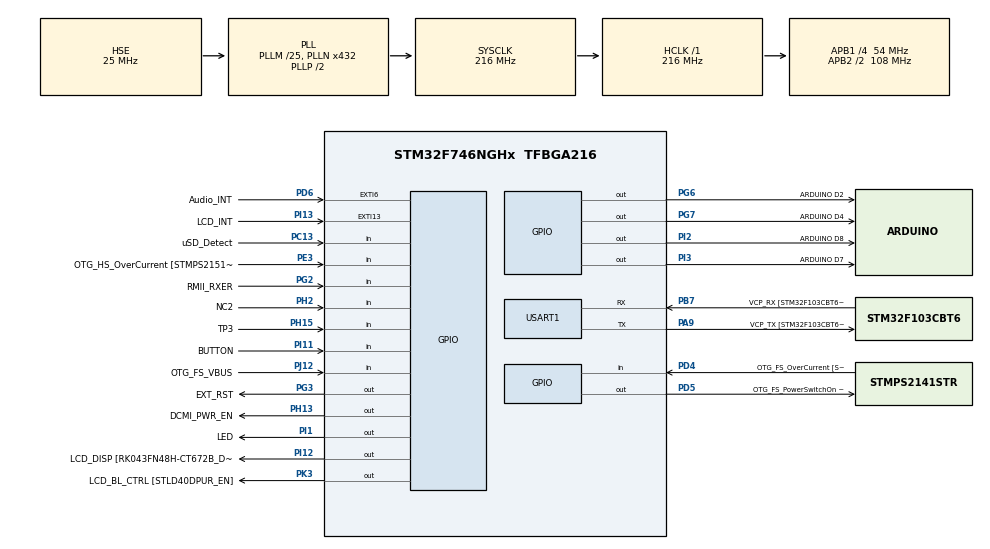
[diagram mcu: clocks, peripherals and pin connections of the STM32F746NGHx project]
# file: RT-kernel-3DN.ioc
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FREERTOS.Tasks01=defaultTask,0,128,StartDefaultTask,Default,NULL,Dynamic,NULL,NULL
FREERTOS.configCHECK_FOR_STACK_OVERFLOW=1
FREERTOS.configGENERATE_RUN_TIME_STATS=1
FREERTOS.configRECORD_STACK_HIGH_ADDRESS=1
FREERTOS.configUSE_NEWLIB_REENTRANT=1
FREERTOS.configUSE_STATS_FORMATTING_FUNCTIONS=1
FREERTOS.configUSE_TRACE_FACILITY=1
Mcu.Family=STM32F7
Mcu.Name=STM32F746NGHx
Mcu.Package=TFBGA216
NVIC.PriorityGroup=NVIC_PRIORITYGROUP_4
NVIC.TIM1_UP_TIM10_IRQn=true\:15\:0\:false\:false\:true\:false\:false\:true\:true
NVIC.TimeBase=TIM1_UP_TIM10_IRQn
NVIC.TimeBaseIP=TIM1
NVIC.USART1_IRQn=true\:5\:0\:false\:false\:true\:true\:true\:true\:true
PA0/WKUP.GPIO_Label=ARDUINO A0
PA0/WKUP.GPIO_Mode=GPIO_MODE_ANALOG
PA0/WKUP.GPIO_PuPd=GPIO_NOPULL
PA0/WKUP.Signal=ADCx_IN0
PA1.GPIO_Label=RMII_REF_CLK [LAN8742A-CZ-TR_REFCLK0]
PA1.Signal=ETH_REF_CLK
PA10.GPIO_Label=OTG_FS_ID
PA10.Signal=USB_OTG_FS_ID
PA11.GPIO_Label=OTG_FS_N
PA11.Signal=USB_OTG_FS_DM
PA12.GPIO_Label=OTG_FS_P
PA12.Signal=USB_OTG_FS_DP
PA13.GPIO_Label=SWDIO
PA13.Mode=Trace_Asynchronous_SW
PA13.Signal=SYS_JTMS-SWDIO
PA14.GPIO_Label=SWCLK
PA14.Mode=Trace_Asynchronous_SW
PA14.Signal=SYS_JTCK-SWCLK
PA15.GPIO_Label=ARDUINO PWM/D9
PA15.GPIO_ModeDefaultPP=GPIO_MODE_AF_PP
PA15.GPIO_PuPd=GPIO_NOPULL
PA15.GPIO_Speed=GPIO_SPEED_FREQ_LOW
PA15.Signal=S_TIM2_CH1_ETR
PA2.GPIO_Label=RMII_MDIO [LAN8742A-CZ-TR_MDIO]
PA2.Signal=ETH_MDIO
PA3.GPIO_Label=ULPI_D0 [USB3320C-EZK_D0]
PA3.Signal=USB_OTG_HS_ULPI_D0
PA4.GPIO_Label=DCMI_HSYNC
PA4.Signal=DCMI_HSYNC
PA5.GPIO_Label=ULPI_CLK [USB3320C-EZK_CLKOUT]
PA5.Signal=USB_OTG_HS_ULPI_CK
PA6.Signal=DCMI_PIXCLK
PA7.GPIO_Label=RMII_CRS_DV [LAN8742A-CZ-TR_CRS_DV]
PA7.Signal=ETH_CRS_DV
PA8.GPIO_Label=ARDUINO PWM/D10
PA8.GPIO_ModeDefaultPP=GPIO_MODE_AF_PP
PA8.GPIO_PuPd=GPIO_NOPULL
PA8.GPIO_Speed=GPIO_SPEED_FREQ_LOW
PA8.Signal=S_TIM1_CH1
PA9.GPIO_Label=VCP_TX [STM32F103CBT6_PA3]
PA9.GPIO_Mode=GPIO_MODE_AF_PP
PA9.GPIO_PuPd=GPIO_NOPULL
PA9.GPIO_Speed=GPIO_SPEED_FREQ_LOW
PA9.Mode=Asynchronous
PA9.Signal=USART1_TX
PB0.GPIO_Label=ULPI_D1 [USB3320C-EZK_D1]
PB0.Signal=USB_OTG_HS_ULPI_D1
PB1.GPIO_Label=ULPI_D2 [USB3320C-EZK_D2]
PB1.Signal=USB_OTG_HS_ULPI_D2
PB10.GPIO_Label=ULPI_D3 [USB3320C-EZK_D3]
PB10.Signal=USB_OTG_HS_ULPI_D3
PB11.GPIO_Label=ULPI_D4 [USB3320C-EZK_D4]
PB11.Signal=USB_OTG_HS_ULPI_D4
PB12.GPIO_Label=ULPI_D5 [USB3320C-EZK_D5]
PB12.Signal=USB_OTG_HS_ULPI_D5
PB13.GPIO_Label=ULPI_D6 [USB3320C-EZK_D6]
PB13.Signal=USB_OTG_HS_ULPI_D6
PB14.GPIO_Label=ARDUINO MISO/D12
PB14.GPIO_Mode=GPIO_MODE_AF_PP
PB14.GPIO_PuPd=GPIO_NOPULL
PB14.GPIO_Speed=GPIO_SPEED_FREQ_LOW
PB14.Signal=SPI2_MISO
PB15.GPIO_Label=ARDUINO MOSI/PWM/D11
PB15.GPIO_Mode=GPIO_MODE_AF_PP
PB15.GPIO_PuPd=GPIO_NOPULL
PB15.GPIO_Speed=GPIO_SPEED_FREQ_LOW
PB15.Signal=SPI2_MOSI
PB2.Signal=QUADSPI_CLK
PB3.GPIO_Label=SWO
PB3.Mode=Trace_Asynchronous_SW
PB3.Signal=SYS_JTDO-SWO
PB4.GPIO_Label=ARDUINO PWM/D3
PB4.GPIO_ModeDefaultPP=GPIO_MODE_AF_PP
PB4.GPIO_PuPd=GPIO_NOPULL
PB4.GPIO_Speed=GPIO_SPEED_FREQ_LOW
PB4.Signal=S_TIM3_CH1
PB5.GPIO_Label=ULPI_D7 [USB3320C-EZK_D7]
PB5.Signal=USB_OTG_HS_ULPI_D7
PB6.GPIO_Label=QSPI_NCS [N25Q128A13EF840E_S]
PB6.Signal=QUADSPI_BK1_NCS
PB7.GPIO_Label=VCP_RX [STM32F103CBT6_PA2]
PB7.GPIO_Mode=GPIO_MODE_AF_PP
PB7.GPIO_PuPd=GPIO_NOPULL
PB7.GPIO_Speed=GPIO_SPEED_FREQ_LOW
PB7.Mode=Asynchronous
PB7.Signal=USART1_RX
PB8.GPIO_Label=ARDUINO SCL/D15
PB8.GPIO_Mode=GPIO_MODE_AF_OD
PB8.GPIO_PuPd=GPIO_NOPULL
PB8.GPIO_Speed=GPIO_SPEED_FREQ_LOW
PB8.Signal=I2C1_SCL
PB9.GPIO_Label=ARDUINO SDA/D14
PB9.GPIO_Mode=GPIO_MODE_AF_OD
PB9.GPIO_PuPd=GPIO_NOPULL
PB9.GPIO_Speed=GPIO_SPEED_FREQ_LOW
PB9.Signal=I2C1_SDA
PC0.GPIO_Label=ULPI_STP [USB3320C-EZK_STP]
PC0.Signal=USB_OTG_HS_ULPI_STP
PC1.GPIO_Label=RMII_MDC [LAN8742A-CZ-TR_MDC]
PC1.Signal=ETH_MDC
PC10.GPIO_Label=SDMMC_D2
PC10.Signal=SDMMC1_D2
PC11.GPIO_Label=SDMMC_D3
PC11.Signal=SDMMC1_D3
PC12.GPIO_Label=SDMMC_CK
PC12.Signal=SDMMC1_CK
PC13.GPIO_Label=uSD_Detect
PC13.Signal=GPIO_Input
PC14/OSC32_IN.GPIO_Label=RCC_OSC32_IN
PC14/OSC32_IN.Signal=RCC_OSC32_IN
PC15/OSC32_OUT.GPIO_Label=RCC_OSC32_OUT
PC15/OSC32_OUT.Signal=RCC_OSC32_OUT
PC2.GPIO_Label=ULPI_DIR [USB3320C-EZK_DIR]
PC2.Signal=USB_OTG_HS_ULPI_DIR
PC3.GPIO_Label=FMC_SDCKE0 [MT48LC4M32B2B5-6A_CKE]
PC3.Signal=FMC_SDCKE0
PC4.GPIO_Label=RMII_RXD0 [LAN8742A-CZ-TR_RXD0]
PC4.Signal=ETH_RXD0
PC5.GPIO_Label=RMII_RXD1 [LAN8742A-CZ-TR_RXD1]
PC5.Signal=ETH_RXD1
PC6.GPIO_Label=ARDUINO TX/D1
PC6.Signal=USART6_TX
PC7.GPIO_Label=ARDUINO RX/D0
PC7.Signal=USART6_RX
PC8.Signal=SDMMC1_D0
PC9.Signal=SDMMC1_D1
PD0.GPIO_Label=FMC_D2 [MT48LC4M32B2B5-6A_DQ2]
PD0.Signal=FMC_D2_DA2
PD1.GPIO_Label=FMC_D3 [MT48LC4M32B2B5-6A_DQ3]
PD1.Signal=FMC_D3_DA3
PD10.GPIO_Label=FMC_D15 [MT48LC4M32B2B5-6A_DQ15]
PD10.Signal=FMC_D15_DA15
PD11.GPIO_Label=QSPI_D0 [N25Q128A13EF840E_DQ0]
PD11.Signal=QUADSPI_BK1_IO0
PD12.GPIO_Label=QSPI_D1 [N25Q128A13EF840E_DQ1]
PD12.Signal=QUADSPI_BK1_IO1
PD13.GPIO_Label=QSPI_D3 [N25Q128A13EF840E_DQ3]
PD13.Signal=QUADSPI_BK1_IO3
PD14.GPIO_Label=FMC_D0 [MT48LC4M32B2B5-6A_DQ0]
PD14.Signal=FMC_D0_DA0
PD15.GPIO_Label=FMC_D1 [MT48LC4M32B2B5-6A_DQ1]
PD15.Signal=FMC_D1_DA1
PD2.GPIO_Label=SDMMC_D0
PD2.Signal=SDMMC1_CMD
PD3.GPIO_Label=DCMI_D5
PD3.Signal=DCMI_D5
PD4.GPIO_Label=OTG_FS_OverCurrent [STMPS2141STR_Fault]
PD4.Signal=GPIO_Input
PD5.GPIO_Label=OTG_FS_PowerSwitchOn [STMPS2141STR_EN]
PD5.PinState=GPIO_PIN_SET
PD5.Signal=GPIO_Output
PD6.GPIO_Label=Audio_INT
PD6.GPIO_ModeDefaultEXTI=GPIO_MODE_EVT_RISING
PD6.Signal=GPXTI6
PD7.GPIO_Label=SPDIF_RX0 [74LVC1G04SE_4]
PD7.Signal=SPDIFRX_IN0
PD8.GPIO_Label=FMC_D13 [MT48LC4M32B2B5-6A_DQ13]
PD8.Signal=FMC_D13_DA13
PD9.GPIO_Label=FMC_D14 [MT48LC4M32B2B5-6A_DQ14]
PD9.Signal=FMC_D14_DA14
PE0.GPIO_Label=FMC_NBL0 [MT48LC4M32B2B5-6A_DQM0]
PE0.Signal=FMC_NBL0
PE1.GPIO_Label=FMC_NBL1 [MT48LC4M32B2B5-6A_DQM1]
PE1.Signal=FMC_NBL1
PE10.GPIO_Label=FMC_D7 [MT48LC4M32B2B5-6A_DQ7]
PE10.Signal=FMC_D7_DA7
PE11.GPIO_Label=FMC_D8 [MT48LC4M32B2B5-6A_DQ8]
PE11.Signal=FMC_D8_DA8
PE12.GPIO_Label=FMC_D9 [MT48LC4M32B2B5-6A_DQ9]
PE12.Signal=FMC_D9_DA9
PE13.GPIO_Label=FMC_D10 [MT48LC4M32B2B5-6A_DQ10]
PE13.Signal=FMC_D10_DA10
PE14.GPIO_Label=FMC_D11 [MT48LC4M32B2B5-6A_DQ11]
PE14.Signal=FMC_D11_DA11
PE15.GPIO_Label=FMC_D12 [MT48LC4M32B2B5-6A_DQ12]
PE15.Signal=FMC_D12_DA12
PE2.GPIO_Label=QSPI_D2 [N25Q128A13EF840E_DQ2]
PE2.Signal=QUADSPI_BK1_IO2
PE3.GPIO_Label=OTG_HS_OverCurrent [STMPS2151STR_FAULT]
PE3.Signal=GPIO_Input
PE4.GPIO_Label=LCD_B0 [RK043FN48H-CT672B_B0]
PE4.Signal=LTDC_B0
PE5.GPIO_Label=DCMI_D6
PE5.Signal=DCMI_D6
PE6.GPIO_Label=DCMI_D7
PE6.Signal=DCMI_D7
PE7.GPIO_Label=FMC_D4 [MT48LC4M32B2B5-6A_DQ4]
PE7.Signal=FMC_D4_DA4
PE8.GPIO_Label=FMC_D5 [MT48LC4M32B2B5-6A_DQ5]
PE8.Signal=FMC_D5_DA5
PE9.GPIO_Label=FMC_D6 [MT48LC4M32B2B5-6A_DQ6]
PE9.Signal=FMC_D6_DA6
PF0.GPIO_Label=FMC_A0 [MT48LC4M32B2B5-6A_A0]
PF0.Signal=FMC_A0
PF1.GPIO_Label=FMC_A1 [MT48LC4M32B2B5-6A_A1]
PF1.Signal=FMC_A1
PF10.GPIO_Label=ARDUINO A1
PF10.GPIO_Mode=GPIO_MODE_ANALOG
PF10.GPIO_PuPd=GPIO_NOPULL
PF10.Signal=ADC3_IN8
PF11.GPIO_Label=FMC_SDNRAS [MT48LC4M32B2B5-6A_RAS]
PF11.Signal=FMC_SDNRAS
PF12.GPIO_Label=FMC_A6 [MT48LC4M32B2B5-6A_A6]
PF12.Signal=FMC_A6
PF13.GPIO_Label=FMC_A7 [MT48LC4M32B2B5-6A_A7]
PF13.Signal=FMC_A7
PF14.GPIO_Label=FMC_A8 [MT48LC4M32B2B5-6A_A8]
PF14.Signal=FMC_A8
PF15.GPIO_Label=FMC_A9 [MT48LC4M32B2B5-6A_A9]
PF15.Signal=FMC_A9
PF2.GPIO_Label=FMC_A2 [MT48LC4M32B2B5-6A_A2]
PF2.Signal=FMC_A2
PF3.GPIO_Label=FMC_A3 [MT48LC4M32B2B5-6A_A3]
PF3.Signal=FMC_A3
PF4.GPIO_Label=FMC_A4 [MT48LC4M32B2B5-6A_A4]
PF4.Signal=FMC_A4
PF5.GPIO_Label=FMC_A5 [MT48LC4M32B2B5-6A_A5]
PF5.Signal=FMC_A5
PF6.GPIO_Label=ARDUINO A5
PF6.GPIO_Mode=GPIO_MODE_ANALOG
PF6.GPIO_PuPd=GPIO_NOPULL
PF6.Signal=ADC3_IN4
PF7.GPIO_Label=ARDUINO A4
PF7.GPIO_Mode=GPIO_MODE_ANALOG
PF7.GPIO_PuPd=GPIO_NOPULL
PF7.Signal=ADC3_IN5
PF8.GPIO_Label=ARDUINO A3
PF8.GPIO_Mode=GPIO_MODE_ANALOG
PF8.GPIO_PuPd=GPIO_NOPULL
PF8.Signal=ADC3_IN6
PF9.GPIO_Label=ARDUINO A2
PF9.GPIO_Mode=GPIO_MODE_ANALOG
PF9.GPIO_PuPd=GPIO_NOPULL
PF9.Signal=ADC3_IN7
PG0.GPIO_Label=FMC_A10 [MT48LC4M32B2B5-6A_A10]
PG0.Signal=FMC_A10
PG1.GPIO_Label=FMC_A11 [MT48LC4M32B2B5-6A_A11]
PG1.Signal=FMC_A11
PG10.GPIO_Label=SAI2_SDB [WM8994ECS/R_ADCDAT1]
PG10.Signal=SAI2_SD_B
PG11.GPIO_Label=RMII_TX_EN [LAN8742A-CZ-TR_TXEN]
PG11.Signal=ETH_TX_EN
PG12.GPIO_Label=LCD_B4 [RK043FN48H-CT672B_B4]
PG12.Signal=LTDC_B4
PG13.GPIO_Label=RMII_TXD0 [LAN8742A-CZ-TR_TXD0]
PG13.Signal=ETH_TXD0
PG14.GPIO_Label=RMII_TXD1 [LAN8742A-CZ-TR_TXD1]
PG14.Signal=ETH_TXD1
PG15.GPIO_Label=FMC_SDNCAS [MT48LC4M32B2B5-6A_CAS]
PG15.Signal=FMC_SDNCAS
PG2.GPIO_Label=RMII_RXER
PG2.Signal=GPIO_Input
PG3.GPIO_Label=EXT_RST
PG3.Signal=GPIO_Output
PG4.GPIO_Label=FMC_BA0 [MT48LC4M32B2B5-6A_BA0]
PG4.Signal=FMC_A14_BA0
PG5.GPIO_Label=FMC_BA1 [MT48LC4M32B2B5-6A_BA1]
PG5.Signal=FMC_A15_BA1
PG6.GPIO_Label=ARDUINO D2
PG6.Signal=GPIO_Output
PG7.GPIO_Label=ARDUINO D4
PG7.Signal=GPIO_Output
PG8.GPIO_Label=FMC_SDCLK [MT48LC4M32B2B5-6A_CLK]
PG8.Signal=FMC_SDCLK
PG9.GPIO_Label=DCMI_VSYNC
PG9.Signal=DCMI_VSYNC
PH0/OSC_IN.GPIO_Label=OSC_25M [NZ2520SB-25.00M_OUT]
PH0/OSC_IN.Mode=HSE-External-Oscillator
PH0/OSC_IN.Signal=RCC_OSC_IN
PH1/OSC_OUT.Mode=HSE-External-Oscillator
PH1/OSC_OUT.Signal=RCC_OSC_OUT
PH10.GPIO_Label=DCMI_D1
PH10.Signal=DCMI_D1
PH11.GPIO_Label=DCMI_D2
PH11.Signal=DCMI_D2
PH12.GPIO_Label=DCMI_D3
PH12.Signal=DCMI_D3
PH13.GPIO_Label=DCMI_PWR_EN
PH13.Signal=GPIO_Output
PH14.GPIO_Label=DCMI_D4
PH14.Signal=DCMI_D4
PH15.GPIO_Label=TP3
PH15.Signal=GPIO_Input
PH2.GPIO_Label=NC2
PH2.Signal=GPIO_Input
PH3.GPIO_Label=FMC_SDNE0 [MT48LC4M32B2B5-6A_CS]
PH3.Signal=FMC_SDNE0
PH4.GPIO_Label=ULPI_NXT [USB3320C-EZK_NXT]
PH4.Signal=USB_OTG_HS_ULPI_NXT
PH5.GPIO_Label=FMC_SDNME [MT48LC4M32B2B5-6A_WE]
PH5.Signal=FMC_SDNWE
PH6.GPIO_Label=ARDUINO PWM/D6
PH6.Signal=S_TIM12_CH1
PH7.GPIO_Label=LCD_SCL [RK043FN48H-CT672B_SCL]
PH7.Signal=I2C3_SCL
PH8.GPIO_Label=LCD_SDA [RK043FN48H-CT672B_SDA]
PH8.Signal=I2C3_SDA
PH9.GPIO_Label=DCMI_D0
PH9.Signal=DCMI_D0
PI0.GPIO_Label=ARDUINO PWM/CS/D5
PI0.GPIO_ModeDefaultPP=GPIO_MODE_AF_PP
PI0.GPIO_PuPd=GPIO_NOPULL
PI0.GPIO_Speed=GPIO_SPEED_FREQ_LOW
PI0.Signal=S_TIM5_CH4
PI1.GPIO_Label=LED
PI1.Signal=GPIO_Output
PI10.GPIO_Label=LCD_HSYNC [RK043FN48H-CT672B_HSYNC]
PI10.Signal=LTDC_HSYNC
PI11.GPIO_Label=BUTTON
PI11.Signal=GPIO_Input
PI12.GPIO_Label=LCD_DISP [RK043FN48H-CT672B_DISP] 
PI12.Signal=GPIO_Output
PI13.GPIO_Label=LCD_INT
PI13.GPIO_ModeDefaultEXTI=GPIO_MODE_EVT_RISING
PI13.Signal=GPXTI13
PI14.GPIO_Label=LCD_CLK [RK043FN48H-CT672B_CLK]
PI14.Signal=LTDC_CLK
PI15.GPIO_Label=LCD_R0 [RK043FN48H-CT672B_R0]
PI15.Signal=LTDC_R0
PI2.GPIO_Label=ARDUINO D8
PI2.Signal=GPIO_Output
PI3.GPIO_Label=ARDUINO D7
PI3.Signal=GPIO_Output
PI4.GPIO_Label=SAI2_MCLKA [WM8994ECS/R_MCLK1]
PI4.Signal=SAI2_MCLK_A
PI5.GPIO_Label=SAI2_SCKA [WM8994ECS/R_BCLK1]
PI5.Signal=SAI2_SCK_A
PI6.GPIO_Label=SAI2_SDA [WM8994ECS/R_DACDAT1]
PI6.Signal=SAI2_SD_A
PI7.GPIO_Label=SAI2_FSA [WM8994ECS/R_LRCLK1]
PI7.Signal=SAI2_FS_A
PI8.GPIO_Label=NC1 [TP2]
PI8.Signal=RTC_TS
PI9.GPIO_Label=LCD_VSYNC [RK043FN48H-CT672B_VSYNC]
PI9.Signal=LTDC_VSYNC
PJ0.GPIO_Label=LCD_R1 [RK043FN48H-CT672B_R1]
PJ0.Signal=LTDC_R1
PJ1.GPIO_Label=LCD_R2 [RK043FN48H-CT672B_R2]
PJ1.Signal=LTDC_R2
PJ10.GPIO_Label=LCD_G3 [RK043FN48H-CT672B_G3]
PJ10.Signal=LTDC_G3
PJ11.GPIO_Label=LCD_G4 [RK043FN48H-CT672B_G4]
PJ11.Signal=LTDC_G4
PJ12.GPIO_Label=OTG_FS_VBUS
PJ12.Signal=GPIO_Input
PJ13.GPIO_Label=LCD_B1 [RK043FN48H-CT672B_B1]
PJ13.Signal=LTDC_B1
PJ14.GPIO_Label=LCD_B2 [RK043FN48H-CT672B_B2]
PJ14.Signal=LTDC_B2
PJ15.GPIO_Label=LCD_B3 [RK043FN48H-CT672B_B3]
PJ15.Signal=LTDC_B3
PJ2.GPIO_Label=LCD_R3 [RK043FN48H-CT672B_R3]
PJ2.Signal=LTDC_R3
PJ3.GPIO_Label=LCD_R4 [RK043FN48H-CT672B_R4]
PJ3.Signal=LTDC_R4
PJ4.GPIO_Label=LCD_R5 [RK043FN48H-CT672B_R5]
PJ4.Signal=LTDC_R5
PJ5.GPIO_Label=LCD_R6 [RK043FN48H-CT672B_R6]
PJ5.Signal=LTDC_R6
PJ6.GPIO_Label=LCD_R7 [RK043FN48H-CT672B_R7]
PJ6.Signal=LTDC_R7
PJ7.GPIO_Label=LCD_G0 [RK043FN48H-CT672B_G0]
PJ7.Signal=LTDC_G0
PJ8.GPIO_Label=LCD_G1 [RK043FN48H-CT672B_G1]
PJ8.Signal=LTDC_G1
PJ9.GPIO_Label=LCD_G2 [RK043FN48H-CT672B_G2]
PJ9.Signal=LTDC_G2
PK0.GPIO_Label=LCD_G5 [RK043FN48H-CT672B_G5]
PK0.Signal=LTDC_G5
PK1.GPIO_Label=LCD_G6 [RK043FN48H-CT672B_G6]
PK1.Signal=LTDC_G6
PK2.GPIO_Label=LCD_G7 [RK043FN48H-CT672B_G7]
PK2.Signal=LTDC_G7
PK3.GPIO_Label=LCD_BL_CTRL [STLD40DPUR_EN]
PK3.Signal=GPIO_Output
PK4.GPIO_Label=LCD_B5 [RK043FN48H-CT672B_B5]
PK4.Signal=LTDC_B5
PK5.GPIO_Label=LCD_B6 [RK043FN48H-CT672B_B6]
PK5.Signal=LTDC_B6
PK6.GPIO_Label=LCD_B7 [RK043FN48H-CT672B_B7]
PK6.Signal=LTDC_B7
PK7.GPIO_Label=LCD_DE [RK043FN48H-CT672B_DE]
PK7.Signal=LTDC_DE
ProjectManager.HeapSize=0x200
ProjectManager.StackSize=0x400
ProjectManager.TargetToolchain=STM32CubeIDE
RCC.AHBFreq_Value=216000000
RCC.APB1CLKDivider=RCC_HCLK_DIV4
RCC.APB1Freq_Value=54000000
RCC.APB1TimFreq_Value=108000000
RCC.APB2CLKDivider=RCC_HCLK_DIV2
RCC.APB2Freq_Value=108000000
RCC.APB2TimFreq_Value=216000000
RCC.CortexFreq_Value=216000000
RCC.HCLKFreq_Value=216000000
RCC.HSE_VALUE=25000000
RCC.HSI_VALUE=16000000
RCC.LSE_VALUE=32768
RCC.PLLM=25
RCC.PLLN=432
RCC.PLLSourceVirtual=RCC_PLLSOURCE_HSE
RCC.SYSCLKFreq_VALUE=216000000
RCC.SYSCLKSource=RCC_SYSCLKSOURCE_PLLCLK
RCC.USBFreq_Value=216000000
RCC.VCOOutputFreq_Value=432000000
SH.ADCx_IN0.0=ADC3_IN0
SH.FMC_A0.0=FMC_A0
SH.FMC_A1.0=FMC_A1
SH.FMC_A10.0=FMC_A10
SH.FMC_A11.0=FMC_A11
SH.FMC_A14_BA0.0=FMC_BA0
SH.FMC_A15_BA1.0=FMC_BA1
SH.FMC_A2.0=FMC_A2
SH.FMC_A3.0=FMC_A3
SH.FMC_A4.0=FMC_A4
SH.FMC_A5.0=FMC_A5
SH.FMC_A6.0=FMC_A6
SH.FMC_A7.0=FMC_A7
SH.FMC_A8.0=FMC_A8
SH.FMC_A9.0=FMC_A9
SH.FMC_D0_DA0.0=FMC_D0
SH.FMC_D10_DA10.0=FMC_D10
SH.FMC_D11_DA11.0=FMC_D11
SH.FMC_D12_DA12.0=FMC_D12
SH.FMC_D13_DA13.0=FMC_D13
SH.FMC_D14_DA14.0=FMC_D14
SH.FMC_D15_DA15.0=FMC_D15
SH.FMC_D1_DA1.0=FMC_D1
SH.FMC_D2_DA2.0=FMC_D2
SH.FMC_D3_DA3.0=FMC_D3
SH.FMC_D4_DA4.0=FMC_D4
SH.FMC_D5_DA5.0=FMC_D5
SH.FMC_D6_DA6.0=FMC_D6
SH.FMC_D7_DA7.0=FMC_D7
SH.FMC_D8_DA8.0=FMC_D8
SH.FMC_D9_DA9.0=FMC_D9
SH.FMC_NBL0.0=FMC_NBL0
SH.FMC_NBL1.0=FMC_NBL1
SH.FMC_SDCLK.0=FMC_SDCLK
SH.FMC_SDNCAS.0=FMC_SDNCAS
SH.FMC_SDNRAS.0=FMC_SDNRAS
SH.FMC_SDNWE.0=FMC_SDNWE
SH.S_TIM12_CH1.0=TIM12_CH1
SH.S_TIM1_CH1.0=TIM1_CH1
SH.S_TIM2_CH1_ETR.0=TIM2_CH1
SH.S_TIM3_CH1.0=TIM3_CH1
SH.S_TIM5_CH4.0=TIM5_CH4
TIM2.Period=0xffffffff
TIM2.Prescaler=107
USART1.VirtualMode-Asynchronous=VM_ASYNC
VP_FREERTOS_VS_CMSIS_V1.Mode=CMSIS_V1
VP_SYS_VS_tim1.Mode=TIM1
VP_TIM2_VS_ClockSourceINT.Mode=Internal
board=STM32F746G-DISCO

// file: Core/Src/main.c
/* USER CODE BEGIN Header */
/**
  ******************************************************************************
  * @file           : main.c
  * @brief          : Main program body
  ******************************************************************************
  */
/* USER CODE END Header */
#include "main.h"
#include "cmsis_os.h"
#include "tim.h"
#include "usart.h"
#include "gpio.h"

/* USER CODE BEGIN Includes */
#include <stdio.h>
#include <stdlib.h>
#include "FreeRTOS.h"
#include "task.h"
#include "queue.h"
#include "shell.h"
/* USER CODE END Includes */

/* USER CODE BEGIN PD */
#define STACK_SIZE 256
#define TASK1_PRIORITY 1
#define TASK2_PRIORITY 1
#define SHELL_TASK_PRIORITY 1
#define QUEUE_LENGTH 10
#define QUEUE_WAIT_TIME pdMS_TO_TICKS(100)
/* USER CODE END PD */

/* USER CODE BEGIN PV */
QueueHandle_t xQueue;
SemaphoreHandle_t xMutex;
TaskHandle_t blinkTaskHandle;
TickType_t ledPeriod = 0;
/* USER CODE END PV */

void SystemClock_Config(void);
void MX_FREERTOS_Init(void);
/* USER CODE BEGIN PFP */
void BlinkTask(void *pvParameters);
void TaskShell(void *pvParameters);
int fonction(int argc, char **argv);
int led(int argc, char **argv);
int spam(int argc, char **argv);
/* USER CODE END PFP */

/* USER CODE BEGIN 0 */

void configureTimerForRunTimeStats(void) {
    HAL_TIM_Base_Start(&htim2);
}

unsigned long getRunTimeCounterValue(void) {
    return __HAL_TIM_GET_COUNTER(&htim2);
}

int __io_putchar(int ch) {
	HAL_UART_Transmit(&huart1, (uint8_t*) &ch, 1, HAL_MAX_DELAY);
	return ch;
}

char uart_read() {
	char c;
	HAL_UART_Receive(&huart1, (uint8_t*)&c, 1, HAL_MAX_DELAY);
	vTaskDelay(pdMS_TO_TICKS(1));
	return c & 0x7F;
}

int fonction(int argc, char **argv) {
    printf("Appel de fonction avec %d argument(s) :\r\n", argc);
    for (int i = 0; i < argc; i++) {
        printf("arg[%d] = %s\r\n", i, argv[i]);
    }
    return 0;
}

int led(int argc, char **argv) {
    if (argc != 2) {
        printf("Usage : led <periode_ms>\r\n");
        return -1;
    }

    int periode = atoi(argv[1]);
    if (periode < 0) periode = 0;

    ledPeriod = (TickType_t) periode;
    printf("Période de clignotement mise à %lu ms\r\n", ledPeriod);
    return 0;
}

int spam(int argc, char **argv) {
    if (argc < 3) {
        printf("Usage : spam <message> <nb>\r\n");
        return -1;
    }

    int count = atoi(argv[2]);
    for (int i = 0; i < count; i++) {
        printf("[%d] %s\r\n", i, argv[1]);
        vTaskDelay(pdMS_TO_TICKS(200));
    }
    return 0;
}

int stats(int argc, char **argv) {
    char buffer[512];

    printf("=== Liste des taches ===\r\n");
    vTaskList(buffer);
    printf("%s\r\n", buffer);

    printf("=== Statistiques d'execution ===\r\n");
    vTaskGetRunTimeStats(buffer);
    printf("%s\r\n", buffer);

    return 0;
}

void BlinkTask(void *pvParameters) {
//    volatile uint32_t stackFiller[STACK_SIZE * 2];
//
//    for (int i = 0; i > STACK_SIZE * 2; i++) {
//		stackFiller[i] = i;
//		printf("i = %d", i);
//	}
    while (1) {
        if (ledPeriod > 0) {
            HAL_GPIO_TogglePin(GPIOI, GPIO_PIN_1);
            vTaskDelay(pdMS_TO_TICKS(ledPeriod));
        } else {
            vTaskDelay(pdMS_TO_TICKS(100));
        }
    }
}

void TaskShell(void *pvParameters) {
	shell_init();
	shell_add('f', fonction, "Fonction test shell");
	shell_add('l', led, "LED clignotement (ex: led 500)");
	shell_add('s', spam, "Affiche un message N fois");
	shell_add('t', stats, "Affiche les stats d'exécution des tâches");
	shell_run();  // Bloquant, mais compatible via uart_read() patché
}

void vApplicationStackOverflowHook(xTaskHandle xTask, signed char *pcTaskName)
{
	printf("HOOKED ! STACK OVERFLOW\r\n");
}
/* USER CODE END 0 */

int main(void)
{

  /* MCU Configuration--------------------------------------------------------*/

  /* Reset of all peripherals, Initializes the Flash interface and the Systick. */
  HAL_Init();

  /* Configure the system clock */
  SystemClock_Config();

  /* Initialize all configured peripherals */
  MX_GPIO_Init();
  MX_USART1_UART_Init();
  MX_TIM2_Init();
  /* USER CODE BEGIN 2 */
  xMutex = xSemaphoreCreateMutex();
  configASSERT(xMutex != NULL);

  xQueue = xQueueCreate(QUEUE_LENGTH, sizeof(TickType_t));
  configASSERT(xQueue != NULL);

  BaseType_t ret;
  ret = xTaskCreate(BlinkTask, "BlinkTask", STACK_SIZE, NULL, 2, &blinkTaskHandle);
  configASSERT(ret == pdPASS);

  ret = xTaskCreate(TaskShell, "Shell", STACK_SIZE, NULL, SHELL_TASK_PRIORITY, NULL);
  configASSERT(ret == pdPASS);

  vTaskStartScheduler();
  /* USER CODE END 2 */

  /* Call init function for freertos objects (in cmsis_os2.c) */
  MX_FREERTOS_Init();

  /* Start scheduler */
  osKernelStart();

  /* We should never get here as control is now taken by the scheduler */

  /* Infinite loop */
  while (1) {

  }
}

void SystemClock_Config(void)
{
  RCC_OscInitTypeDef RCC_OscInitStruct = {0};
  RCC_ClkInitTypeDef RCC_ClkInitStruct = {0};

  /** Configure the main internal regulator output voltage
  */
  __HAL_RCC_PWR_CLK_ENABLE();
  __HAL_PWR_VOLTAGESCALING_CONFIG(PWR_REGULATOR_VOLTAGE_SCALE1);

  /** Initializes the RCC Oscillators according to the specified parameters
  * in the RCC_OscInitTypeDef structure.
  */
  RCC_OscInitStruct.OscillatorType = RCC_OSCILLATORTYPE_HSE;
  RCC_OscInitStruct.HSEState = RCC_HSE_ON;
  RCC_OscInitStruct.PLL.PLLState = RCC_PLL_ON;
  RCC_OscInitStruct.PLL.PLLSource = RCC_PLLSOURCE_HSE;
  RCC_OscInitStruct.PLL.PLLM = 25;
  RCC_OscInitStruct.PLL.PLLN = 432;
  RCC_OscInitStruct.PLL.PLLP = RCC_PLLP_DIV2;
  RCC_OscInitStruct.PLL.PLLQ = 2;
  if (HAL_RCC_OscConfig(&RCC_OscInitStruct) != HAL_OK)
  {
    Error_Handler();
  }

  /** Activate the Over-Drive mode
  */
  if (HAL_PWREx_EnableOverDrive() != HAL_OK)
  {
    Error_Handler();
  }

  /** Initializes the CPU, AHB and APB buses clocks
  */
  RCC_ClkInitStruct.ClockType = RCC_CLOCKTYPE_HCLK|RCC_CLOCKTYPE_SYSCLK
                              |RCC_CLOCKTYPE_PCLK1|RCC_CLOCKTYPE_PCLK2;
  RCC_ClkInitStruct.SYSCLKSource = RCC_SYSCLKSOURCE_PLLCLK;
  RCC_ClkInitStruct.AHBCLKDivider = RCC_SYSCLK_DIV1;
  RCC_ClkInitStruct.APB1CLKDivider = RCC_HCLK_DIV4;
  RCC_ClkInitStruct.APB2CLKDivider = RCC_HCLK_DIV2;

  if (HAL_RCC_ClockConfig(&RCC_ClkInitStruct, FLASH_LATENCY_7) != HAL_OK)
  {
    Error_Handler();
  }
}

void HAL_TIM_PeriodElapsedCallback(TIM_HandleTypeDef *htim)
{
  if (htim->Instance == TIM1)
  {
    HAL_IncTick();
  }
}

void Error_Handler(void)
{
  __disable_irq();
  while (1)
  {
  }
}

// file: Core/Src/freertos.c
/* USER CODE BEGIN Header */
/**
  ******************************************************************************
  * File Name          : freertos.c
  * Description        : Code for freertos applications
  ******************************************************************************
  * @attention
  *
  * Copyright (c) 2025 STMicroelectronics.
  * All rights reserved.
  *
  * This software is licensed under terms that can be found in the LICENSE file
  * in the root directory of this software component.
  * If no LICENSE file comes with this software, it is provided AS-IS.
  *
  ******************************************************************************
  */
/* USER CODE END Header */

#include "FreeRTOS.h"
#include "task.h"
#include "main.h"
#include "cmsis_os.h"

/* USER CODE BEGIN Includes */
#include "usart.h"
/* USER CODE END Includes */

osThreadId defaultTaskHandle;

void StartDefaultTask(void const * argument);

void MX_FREERTOS_Init(void); /* (MISRA C 2004 rule 8.1) */

/* GetIdleTaskMemory prototype (linked to static allocation support) */
void vApplicationGetIdleTaskMemory( StaticTask_t **ppxIdleTaskTCBBuffer, StackType_t **ppxIdleTaskStackBuffer, uint32_t *pulIdleTaskStackSize );

/* Hook prototypes */
void configureTimerForRunTimeStats(void);
unsigned long getRunTimeCounterValue(void);
void vApplicationStackOverflowHook(xTaskHandle xTask, signed char *pcTaskName);

/* USER CODE BEGIN 1 */
/* Functions needed when configGENERATE_RUN_TIME_STATS is on */
__weak void configureTimerForRunTimeStats(void)
{

}

__weak unsigned long getRunTimeCounterValue(void)
{
return 0;
}
/* USER CODE END 1 */

/* USER CODE BEGIN 4 */
__weak void vApplicationStackOverflowHook(xTaskHandle xTask, signed char *pcTaskName)
{
   /* Run time stack overflow checking is performed if
   configCHECK_FOR_STACK_OVERFLOW is defined to 1 or 2. This hook function is
   called if a stack overflow is detected. */
}
/* USER CODE END 4 */

/* USER CODE BEGIN GET_IDLE_TASK_MEMORY */
static StaticTask_t xIdleTaskTCBBuffer;
static StackType_t xIdleStack[configMINIMAL_STACK_SIZE];

void vApplicationGetIdleTaskMemory( StaticTask_t **ppxIdleTaskTCBBuffer, StackType_t **ppxIdleTaskStackBuffer, uint32_t *pulIdleTaskStackSize )
{
  *ppxIdleTaskTCBBuffer = &xIdleTaskTCBBuffer;
  *ppxIdleTaskStackBuffer = &xIdleStack[0];
  *pulIdleTaskStackSize = configMINIMAL_STACK_SIZE;
  /* place for user code */
}
/* USER CODE END GET_IDLE_TASK_MEMORY */

void MX_FREERTOS_Init(void) {

  /* Create the thread(s) */
  /* definition and creation of defaultTask */
  osThreadDef(defaultTask, StartDefaultTask, osPriorityNormal, 0, 128);
  defaultTaskHandle = osThreadCreate(osThread(defaultTask), NULL);

}

void StartDefaultTask(void const * argument)
{
  for(;;)
  {
    osDelay(1);
  }
}
